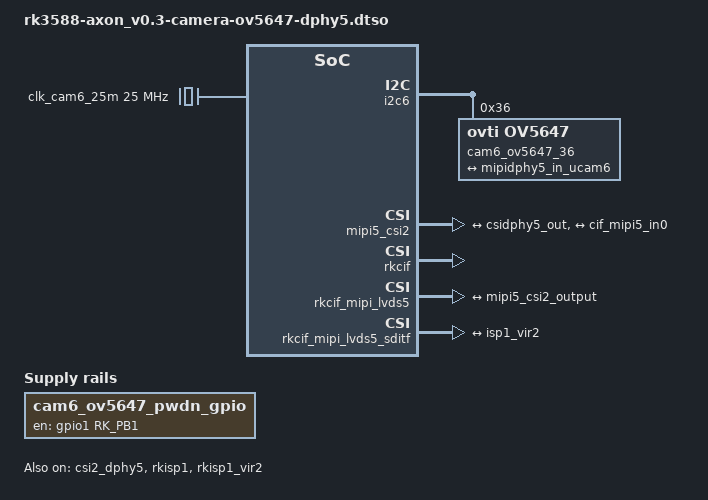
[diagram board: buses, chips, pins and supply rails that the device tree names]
// SPDX-License-Identifier: GPL-2.0+
// Copyright (C) 2024 Vicharak Computers PVT LTD

/dts-v1/;
/plugin/;

#include <dt-bindings/gpio/gpio.h>
#include <dt-bindings/pinctrl/rockchip.h>

&{/} {
    metadata {
        title = "Enable RasPi Camera V1.3 (OV5647) on CSI1 D2,3 dphy5 Axon V0.3";
        compatible = "vicharak,rk3588-axon", "rockchip,rk3588";
        category = "camera";
        exclusive = "ov5647_6_36", "csi2_dphy5", "mipi5_csi2", "rkcif_mipi_lvds5", "rkcif_mipi_lvds5_sditf", "rkisp1_vir2";
        description = "Enables OV5647 based RaspberryPi Camera V1.3 on\nVicharak Axon at I2C 3 bus address 36 on dphy5";
    };

    cam6_ov5647_pwdn_gpio: cam6-pwdn-gpio {
         status = "okay";
         compatible = "regulator-fixed";
         regulator-name = "cam6_pwdn_gpio";
         regulator-always-on;
         regulator-boot-on;
         enable-active-high;
         gpio = <&gpio1 RK_PB1 GPIO_ACTIVE_HIGH>;
         pinctrl-names = "default";
         pinctrl-0 = <&cam6_pwdn_gpio>;
    };

    clk_cam6_25m: external-cam6-clock-25m {
         status = "okay";
         compatible = "fixed-clock";
         clock-frequency = <25000000>;
         clock-output-names = "clk_cam6_25m";
         #clock-cells = <0>;
    };

};

&i2c6 {
         status = "okay";
		 #address-cells = <1>;
		 #size-cells = <0>;
         cam6_ov5647_36: cam6-ov5647@36 {
                 status = "okay";
		 compatible = "ovti,ov5647";
		 reg = <0x36>;
 
                 clocks = <&clk_cam6_25m>;
                 clock-names = "xvclk";
 
                 rockchip,camera-module-index = <0>;
                 rockchip,camera-module-facing = "back";
                 rockchip,camera-module-name = "rpi-camera-v1";
                 rockchip,camera-module-lens-name = "default";
 
                 port {
                         cam6_ov5647_out0: endpoint {
                                 remote-endpoint = <&mipidphy5_in_ucam6>;
                                 data-lanes = <3 4>;
                         };
                 };
         };
 };

&csi2_dphy5 {
        status = "okay";

        ports {
                #address-cells = <1>;
                #size-cells = <0>;

                port@0 {
                        reg = <0>;
                        #address-cells = <1>;
                        #size-cells = <0>;

                        mipidphy5_in_ucam6: endpoint@1 {
                                reg = <1>;
                                remote-endpoint = <&cam6_ov5647_out0>;
                                data-lanes = <3 4>;
                        };

                };

                port@1 {
                        reg = <1>;
                        #address-cells = <1>;
                        #size-cells = <0>;

                        csidphy5_out: endpoint@0 {
                                reg = <0>;
                                remote-endpoint = <&mipi5_csi2_input>;
                        };
                };
        };
};

&mipi5_csi2 {
        status = "okay";

        ports {
                #address-cells = <1>;
                #size-cells = <0>;

                port@0 {
                        reg = <0>;
                        #address-cells = <1>;
                        #size-cells = <0>;

                        mipi5_csi2_input: endpoint@1 {
                                reg = <1>;
                                remote-endpoint = <&csidphy5_out>;
                        };
                };

                port@1 {
                        reg = <1>;
                        #address-cells = <1>;
                        #size-cells = <0>;

                        mipi5_csi2_output: endpoint@0 {
                                reg = <0>;
                                remote-endpoint = <&cif_mipi5_in0>;
                        };
                };
        };
};

&rkcif {
        status = "okay";
};

&rkcif_mipi_lvds5 {
        status = "okay";

        port {
                cif_mipi5_in0: endpoint {
                        remote-endpoint = <&mipi5_csi2_output>;
                };
        };
};

&rkcif_mipi_lvds5_sditf {
        status = "okay";

        port {
                mipi_lvds5_sditf: endpoint {
                        remote-endpoint = <&isp1_vir2>;
                };
        };
};

&rkcif_mmu {
        status = "okay";
};

&rkisp1 {
        status = "okay";
};

&isp1_mmu {
        status = "okay";
};

&rkisp1_vir2 {
        status = "okay";

        port {
                #address-cells = <1>;
                #size-cells = <0>;

                isp1_vir2: endpoint@0 {
                        reg = <0>;
                        remote-endpoint = <&mipi_lvds5_sditf>;
                };
        };
};

&pinctrl {
        camera {
                cam6_pwdn_gpio: cam6-pwdn-gpio {
                        rockchip,pins = <1 RK_PB1 RK_FUNC_GPIO &pcfg_pull_up>;
                };
        };
};
